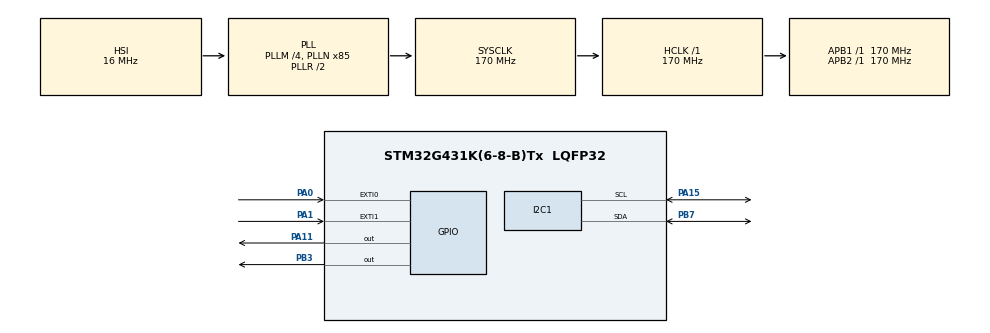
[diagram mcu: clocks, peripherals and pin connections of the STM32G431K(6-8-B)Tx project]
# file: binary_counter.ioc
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I2C1.Timing=0x40B285C2
Mcu.Family=STM32G4
Mcu.Name=STM32G431K(6-8-B)Tx
Mcu.Package=LQFP32
NUCLEO-G431KB.Bsp_Common_DEMO=true
NUCLEO-G431KB.LD2=true
NUCLEO-G431KB.VCP=true
NVIC.EXTI0_IRQn=true\:0\:0\:false\:true\:true\:1\:true\:true\:true
NVIC.EXTI1_IRQn=true\:0\:0\:false\:false\:true\:true\:true\:true
NVIC.PriorityGroup=NVIC_PRIORITYGROUP_4
PA0.GPIO_ModeDefaultEXTI=GPIO_MODE_IT_FALLING
PA0.GPIO_PuPd=GPIO_NOPULL
PA0.Signal=GPXTI0
PA1.GPIO_ModeDefaultEXTI=GPIO_MODE_IT_FALLING
PA1.Signal=GPXTI1
PA11.PinState=GPIO_PIN_SET
PA11.Signal=GPIO_Output
PA13.GPIO_Label=T_SWDIO
PA13.Signal=SYS_JTMS-SWDIO
PA14.GPIO_Label=T_SWCLK
PA14.Signal=SYS_JTCK-SWCLK
PA15.GPIO_Pu=GPIO_PULLUP
PA15.Mode=I2C
PA15.Signal=I2C1_SCL
PA2.Signal=USART2_TX
PA3.Signal=USART2_RX
PB3.Signal=GPIO_Output
PB7.GPIO_Pu=GPIO_PULLUP
PB7.Mode=I2C
PB7.Signal=I2C1_SDA
PF0-OSC_IN.Mode=HSE-External-Oscillator
PF0-OSC_IN.Signal=RCC_OSC_IN
PF1-OSC_OUT.Mode=HSE-External-Oscillator
PF1-OSC_OUT.Signal=RCC_OSC_OUT
ProjectManager.HeapSize=0x200
ProjectManager.StackSize=0x400
ProjectManager.TargetToolchain=STM32CubeIDE
RCC.ADC12Freq_Value=170000000
RCC.AHBFreq_Value=170000000
RCC.APB1Freq_Value=170000000
RCC.APB1TimFreq_Value=170000000
RCC.APB2Freq_Value=170000000
RCC.APB2TimFreq_Value=170000000
RCC.CortexFreq_Value=170000000
RCC.EXTERNAL_CLOCK_VALUE=12288000
RCC.HCLKFreq_Value=170000000
RCC.HSE_VALUE=8000000
RCC.HSI48_VALUE=48000000
RCC.HSI_VALUE=16000000
RCC.LSE_VALUE=32768
RCC.PLLM=RCC_PLLM_DIV4
RCC.PLLN=85
RCC.SYSCLKFreq_VALUE=170000000
RCC.SYSCLKSource=RCC_SYSCLKSOURCE_PLLCLK
RCC.USBFreq_Value=170000000
RCC.VCOOutputFreq_Value=340000000
VP_NUCLEO-G431KB_VS_BSP_COMMON.Mode=COMMON
VP_SYS_VS_DBSignals.Mode=DisableDeadBatterySignals
board=NUCLEO-G431KB

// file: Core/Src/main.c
/* USER CODE BEGIN Header */
/**
  ******************************************************************************
  * @file           : main.c
  * @brief          : Main program body
  ******************************************************************************
  * @attention
  *
  * Copyright (c) 2026 STMicroelectronics.
  * All rights reserved.
  *
  * This software is licensed under terms that can be found in the LICENSE file
  * in the root directory of this software component.
  * If no LICENSE file comes with this software, it is provided AS-IS.
  *
  ******************************************************************************
  */

/**
A program to do a binary counter that will count up to deceimal 31,
which is  11111 in binary and count down to zero.
  */

/* USER CODE END Header */
#include "main.h"
#include "i2c.h"
#include "gpio.h"

/* USER CODE BEGIN PD */
#define BtnUp GPIO_PIN_1
#define BtnDown GPIO_PIN_0
#define LOW GPIO_PIN_RESET
#define HIGH GPIO_PIN_SET
/* USER CODE END PD */

COM_InitTypeDef BspCOMInit;

/* USER CODE BEGIN PV */
unsigned int countUp = 0;
unsigned int countDown = 0x1F; // dec 31
int j = 0;
unsigned int sq = 4;
/* USER CODE END PV */

void SystemClock_Config(void);
static void MX_NVIC_Init(void);

int main(void)
{

  /* MCU Configuration--------------------------------------------------------*/

  /* Reset of all peripherals, Initializes the Flash interface and the Systick. */
  HAL_Init();

  /* Configure the system clock */
  SystemClock_Config();

  /* Initialize all configured peripherals */
  MX_GPIO_Init();
  MX_I2C1_Init();

  /* Initialize interrupts */
  MX_NVIC_Init();

  /* Initialize leds */
  BSP_LED_Init(LED_GREEN);

  /* Initialize COM1 port (115200, 8 bits (7-bit data + 1 stop bit), no parity */
  BspCOMInit.BaudRate   = 115200;
  BspCOMInit.WordLength = COM_WORDLENGTH_8B;
  BspCOMInit.StopBits   = COM_STOPBITS_1;
  BspCOMInit.Parity     = COM_PARITY_NONE;
  BspCOMInit.HwFlowCtl  = COM_HWCONTROL_NONE;
  if (BSP_COM_Init(COM1, &BspCOMInit) != BSP_ERROR_NONE)
  {
    Error_Handler();
  }

  /* USER CODE BEGIN BSP */

  /* -- Sample board code to send message over COM1 port ---- */
  printf("Welcome to STM32 world !\n\r");

  /* -- Sample board code to switch on leds ---- */
  BSP_LED_On(LED_GREEN);

  /* USER CODE END BSP */

  /* Infinite loop */
  /* USER CODE BEGIN WHILE */
  GPIO_led_Config();
  GPIO_button_Config();

  while (1)
  {

/* -- Sample board code to toggle leds ---- */
//       BSP_LED_Toggle(LED_GREEN);

    /* USER CODE END WHILE */

    /* USER CODE BEGIN 3 */
//       two buttons are pressed
       if (!HAL_GPIO_ReadPin(GPIOA, BtnUp) && !HAL_GPIO_ReadPin(GPIOA, BtnDown)){

//    	    flash leds
    	   while(j < 2){
    		   HAL_GPIO_WritePin(GPIOA, 0x1F8, HIGH);
    		   HAL_Delay(100);
    		   HAL_GPIO_WritePin(GPIOA, 0x1F8, LOW);
    		   HAL_Delay(100);
    		   j++;
    	   }
    	   HAL_GPIO_WritePin(GPIOA, 0x1F8, LOW);
  }
       else if (HAL_GPIO_ReadPin(GPIOA, BtnUp) == 1 && HAL_GPIO_ReadPin(GPIOA, BtnDown) == 0){
    	   if (countUp < 32){
    		   HAL_GPIO_WritePin(GPIOA, 0x1F8, LOW);
    		   HAL_Delay(100);
    		   HAL_GPIO_WritePin(GPIOA, countUp <<4, HIGH);
    		   HAL_Delay(1000);
    		   countUp++;
    	   } else {
    		   countUp = 0;
    		   HAL_Delay(2000);

    	   }
    	   j = 0;
       }
       else if (HAL_GPIO_ReadPin(GPIOA, BtnUp) == 0 && HAL_GPIO_ReadPin(GPIOA, BtnDown) == 1){
    	   if (countDown > 0){
    		   HAL_GPIO_WritePin(GPIOA, countDown <<4, HIGH);
    		   HAL_Delay(1000);
    		   countDown--;
    	   } else {
    		   countDown = 0x1F;
    		   HAL_Delay(2000);

    	   }
    	   j = 0;
       }
       else {
    	   countUp = 0;
    	   countDown = 0x1F;
    	   if (sq < 9){
    		   HAL_GPIO_WritePin(GPIOA, 0x1F8, LOW);
    		   HAL_Delay(100);
    		   HAL_GPIO_WritePin(GPIOA, 1UL <<sq, HIGH);
    		   HAL_Delay(1000);
    		   sq++;
    	   }
    	   else {
    		   sq =4;
    	   }
    	   j=0;
       }

       }
  /* USER CODE END 3 */
}

void SystemClock_Config(void)
{
  RCC_OscInitTypeDef RCC_OscInitStruct = {0};
  RCC_ClkInitTypeDef RCC_ClkInitStruct = {0};

  /** Configure the main internal regulator output voltage
  */
  HAL_PWREx_ControlVoltageScaling(PWR_REGULATOR_VOLTAGE_SCALE1_BOOST);

  /** Initializes the RCC Oscillators according to the specified parameters
  * in the RCC_OscInitTypeDef structure.
  */
  RCC_OscInitStruct.OscillatorType = RCC_OSCILLATORTYPE_HSI;
  RCC_OscInitStruct.HSIState = RCC_HSI_ON;
  RCC_OscInitStruct.HSICalibrationValue = RCC_HSICALIBRATION_DEFAULT;
  RCC_OscInitStruct.PLL.PLLState = RCC_PLL_ON;
  RCC_OscInitStruct.PLL.PLLSource = RCC_PLLSOURCE_HSI;
  RCC_OscInitStruct.PLL.PLLM = RCC_PLLM_DIV4;
  RCC_OscInitStruct.PLL.PLLN = 85;
  RCC_OscInitStruct.PLL.PLLP = RCC_PLLP_DIV2;
  RCC_OscInitStruct.PLL.PLLQ = RCC_PLLQ_DIV2;
  RCC_OscInitStruct.PLL.PLLR = RCC_PLLR_DIV2;
  if (HAL_RCC_OscConfig(&RCC_OscInitStruct) != HAL_OK)
  {
    Error_Handler();
  }

  /** Initializes the CPU, AHB and APB buses clocks
  */
  RCC_ClkInitStruct.ClockType = RCC_CLOCKTYPE_HCLK|RCC_CLOCKTYPE_SYSCLK
                              |RCC_CLOCKTYPE_PCLK1|RCC_CLOCKTYPE_PCLK2;
  RCC_ClkInitStruct.SYSCLKSource = RCC_SYSCLKSOURCE_PLLCLK;
  RCC_ClkInitStruct.AHBCLKDivider = RCC_SYSCLK_DIV1;
  RCC_ClkInitStruct.APB1CLKDivider = RCC_HCLK_DIV1;
  RCC_ClkInitStruct.APB2CLKDivider = RCC_HCLK_DIV1;

  if (HAL_RCC_ClockConfig(&RCC_ClkInitStruct, FLASH_LATENCY_4) != HAL_OK)
  {
    Error_Handler();
  }
}

/**
  * @brief NVIC Configuration.
  * @retval None
  */
static void MX_NVIC_Init(void)
{
  /* EXTI0_IRQn interrupt configuration */
  HAL_NVIC_SetPriority(EXTI0_IRQn, 0, 0);
  HAL_NVIC_EnableIRQ(EXTI0_IRQn);
}

/* USER CODE BEGIN 4 */

void HAL_GPIO_EXTI_Callback(uint16_t GPIO_Pin){
	if (GPIO_Pin == GPIO_PIN_0){
//		HAL_GPIO_WritePin(GPIOB, GPIO_PIN_8, GPIO_PIN_SET);
		HAL_GPIO_TogglePin(GPIOA, GPIO_PIN_0);
		printf("But_press\r\n");
	} else {
		__NOP();
	}
}

// LED pin PA4, PA5, PA6, PA7, PA8 configuration
void GPIO_led_Config(void){

	__HAL_RCC_GPIOA_CLK_ENABLE();
	GPIO_InitTypeDef GPIOA_Init = {};

	GPIOA_Init.Pin = GPIO_PIN_4 | GPIO_PIN_5 | GPIO_PIN_6 | GPIO_PIN_7 |GPIO_PIN_8;
	GPIOA_Init.Mode = GPIO_MODE_OUTPUT_PP;
	GPIOA_Init.Pull = GPIO_NOPULL;
	HAL_GPIO_Init(GPIOA, &GPIOA_Init);
}

// Button PA0, PA1 configuration
void GPIO_button_Config(void){

//	enable clock for gpio a, rcc register
	__HAL_RCC_GPIOA_CLK_ENABLE();
	GPIO_InitTypeDef GPIOA_Init = {};

	GPIOA_Init.Pin = GPIO_PIN_0 | GPIO_PIN_1;
	GPIOA_Init.Mode = GPIO_MODE_INPUT;
	GPIOA_Init.Pull = GPIO_PULLDOWN;

	HAL_GPIO_Init(GPIOA, &GPIOA_Init);
}

/* USER CODE END 4 */

/* USER CODE BEGIN Header */
/**
  ******************************************************************************
  * @file           : main.c
  * @brief          : Main program body
  ******************************************************************************
  * @attention
  *
  * Copyright (c) 2026 STMicroelectronics.
  * All rights reserved.
  *
  * This software is licensed under terms that can be found in the LICENSE file
  * in the root directory of this software component.
  * If no LICENSE file comes with this software, it is provided AS-IS.
  *
  ******************************************************************************
  */

/**
A program to do a binary counter that will count up to deceimal 31,
which is  11111 in binary and count down to zero.
  */

/* USER CODE END Header */

void Error_Handler(void)
{
  __disable_irq();
  while (1)
  {
  }
}
